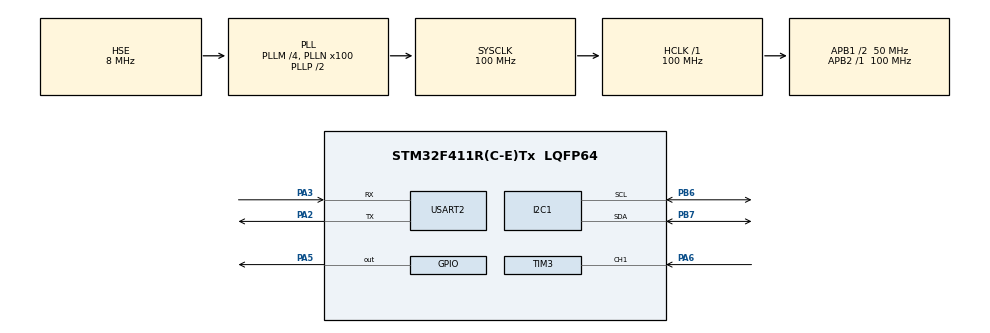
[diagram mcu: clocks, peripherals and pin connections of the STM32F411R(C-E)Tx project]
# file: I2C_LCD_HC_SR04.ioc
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Mcu.Family=STM32F4
Mcu.Name=STM32F411R(C-E)Tx
Mcu.Package=LQFP64
NVIC.PriorityGroup=NVIC_PRIORITYGROUP_4
NVIC.TIM3_IRQn=true\:0\:0\:false\:false\:true\:true\:true\:true
NVIC.USART2_IRQn=true\:0\:0\:false\:false\:true\:true\:true\:true
PA13.Mode=Serial_Wire
PA13.Signal=SYS_JTMS-SWDIO
PA14.Mode=Serial_Wire
PA14.Signal=SYS_JTCK-SWCLK
PA2.Mode=Asynchronous
PA2.Signal=USART2_TX
PA3.Mode=Asynchronous
PA3.Signal=USART2_RX
PA5.Signal=GPIO_Output
PA6.Signal=S_TIM3_CH1
PB6.Mode=I2C
PB6.Signal=I2C1_SCL
PB7.Mode=I2C
PB7.Signal=I2C1_SDA
PH0\ -\ OSC_IN.Mode=HSE-External-Oscillator
PH0\ -\ OSC_IN.Signal=RCC_OSC_IN
PH1\ -\ OSC_OUT.Mode=HSE-External-Oscillator
PH1\ -\ OSC_OUT.Signal=RCC_OSC_OUT
ProjectManager.HeapSize=0x200
ProjectManager.StackSize=0x400
ProjectManager.TargetToolchain=STM32CubeIDE
RCC.48MHZClocksFreq_Value=50000000
RCC.AHBFreq_Value=100000000
RCC.APB1CLKDivider=RCC_HCLK_DIV2
RCC.APB1Freq_Value=50000000
RCC.APB1TimFreq_Value=100000000
RCC.APB2Freq_Value=100000000
RCC.APB2TimFreq_Value=100000000
RCC.CortexFreq_Value=100000000
RCC.HCLKFreq_Value=100000000
RCC.HSE_VALUE=8000000
RCC.HSI_VALUE=16000000
RCC.LSE_VALUE=32768
RCC.PLLM=4
RCC.PLLN=100
RCC.PLLSourceVirtual=RCC_PLLSOURCE_HSE
RCC.SYSCLKFreq_VALUE=100000000
RCC.SYSCLKSource=RCC_SYSCLKSOURCE_PLLCLK
RCC.VCOOutputFreq_Value=200000000
SH.S_TIM3_CH1.0=TIM3_CH1,Input_Capture1_from_TI1
TIM3.Channel-Input_Capture1_from_TI1=TIM_CHANNEL_1
TIM3.Prescaler=100-1
USART2.VirtualMode=VM_ASYNC
VP_TIM3_VS_ClockSourceINT.Mode=Internal
board=custom

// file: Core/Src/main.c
/* USER CODE BEGIN Header */
/**
  ******************************************************************************
  * @file           : main.c
  * @brief          : Main program body
  ******************************************************************************
  * @attention
  *
  * Copyright (c) 2023 STMicroelectronics.
  * All rights reserved.
  *
  * This software is licensed under terms that can be found in the LICENSE file
  * in the root directory of this software component.
  * If no LICENSE file comes with this software, it is provided AS-IS.
  *
  ******************************************************************************
  */
/* USER CODE END Header */
#include "main.h"
#include "i2c.h"
#include "tim.h"
#include "usart.h"
#include "gpio.h"

/* USER CODE BEGIN Includes */
#include "stdio.h"
#include "delay.h"
#include "I2C_LCD.h"
/* USER CODE END Includes */

/* USER CODE BEGIN PD */
#define TRIG_PORT   GPIOA
#define TRIG_PIN    GPIO_PIN_5
/* USER CODE END PD */

/* USER CODE BEGIN PV */
uint32_t INC_Value1 = 0;
uint32_t INC_Value2 = 0;
uint32_t echoTime = 0;
uint8_t captureFlag = 0;
uint8_t distance = 0;
int row=0;
int col=0;

uint8_t buff[30];

/* USER CODE END PV */

void SystemClock_Config(void);
/* USER CODE BEGIN PFP */
void HAL_TIM_IC_CaptureCallback(TIM_HandleTypeDef *htim)
{
  if(htim->Channel == HAL_TIM_ACTIVE_CHANNEL_1)
  {
    if(captureFlag==0)  // ĸó�� �ȵ� INC_Value1
    {
      INC_Value1 = HAL_TIM_ReadCapturedValue(htim, TIM_CHANNEL_1);
      captureFlag = 1;

      __HAL_TIM_SET_CAPTUREPOLARITY(htim,TIM_CHANNEL_1,TIM_INPUTCHANNELPOLARITY_FALLING);

    }
    else if(captureFlag ==1) // INC_Value1 captured
    {
      INC_Value2 = HAL_TIM_ReadCapturedValue(htim, TIM_CHANNEL_1);
      __HAL_TIM_SET_COUNTER(htim,0);

      if(INC_Value2>INC_Value1)
      {
        echoTime = INC_Value2 - INC_Value1;
      }
      else if (INC_Value1> INC_Value2)
      {
        echoTime = (0xffff - INC_Value1) + INC_Value2;
      }

      //distance = echoTime * .034 / 2;
      //
      distance = echoTime / 58;

      captureFlag = 0;
      __HAL_TIM_SET_CAPTUREPOLARITY(htim,TIM_CHANNEL_1,TIM_INPUTCHANNELPOLARITY_RISING);
      __HAL_TIM_DISABLE_IT(&htim3,TIM_IT_CC1);
    }
  }
}
void HCSR04_Read(void)
{
  HAL_GPIO_WritePin(TRIG_PORT, TRIG_PIN, GPIO_PIN_SET);
  delay_us(10);
  HAL_GPIO_WritePin(TRIG_PORT, TRIG_PIN, GPIO_PIN_RESET);
  __HAL_TIM_ENABLE_IT(&htim3,TIM_IT_CC1);
}
/* USER CODE END PFP */

int main(void)
{

  /* MCU Configuration--------------------------------------------------------*/

  /* Reset of all peripherals, Initializes the Flash interface and the Systick. */
  HAL_Init();

  /* Configure the system clock */
  SystemClock_Config();

  /* Initialize all configured peripherals */
  MX_GPIO_Init();
  MX_I2C1_Init();
  MX_TIM3_Init();
  MX_USART2_UART_Init();
  /* USER CODE BEGIN 2 */
  HAL_Delay(1000);
    lcd_init();
   HAL_Delay(1000);
   lcd_put_cur(0, 0);
   lcd_send_string("Han Sang Hun");
   HAL_TIM_IC_Start_IT(&htim3, TIM_CHANNEL_1);
  /* USER CODE END 2 */

  /* Infinite loop */
  while (1)
  {

    /* USER CODE BEGIN 3 */
    HCSR04_Read();
    sprintf(buff,"distance : %-3dcm",distance);
    lcd_put_cur(1, 0);
    lcd_send_string(buff);
    HAL_Delay(500);
  }
  /* USER CODE END 3 */
}

void SystemClock_Config(void)
{
  RCC_OscInitTypeDef RCC_OscInitStruct = {0};
  RCC_ClkInitTypeDef RCC_ClkInitStruct = {0};

  /** Configure the main internal regulator output voltage
  */
  __HAL_RCC_PWR_CLK_ENABLE();
  __HAL_PWR_VOLTAGESCALING_CONFIG(PWR_REGULATOR_VOLTAGE_SCALE1);

  /** Initializes the RCC Oscillators according to the specified parameters
  * in the RCC_OscInitTypeDef structure.
  */
  RCC_OscInitStruct.OscillatorType = RCC_OSCILLATORTYPE_HSE;
  RCC_OscInitStruct.HSEState = RCC_HSE_ON;
  RCC_OscInitStruct.PLL.PLLState = RCC_PLL_ON;
  RCC_OscInitStruct.PLL.PLLSource = RCC_PLLSOURCE_HSE;
  RCC_OscInitStruct.PLL.PLLM = 4;
  RCC_OscInitStruct.PLL.PLLN = 100;
  RCC_OscInitStruct.PLL.PLLP = RCC_PLLP_DIV2;
  RCC_OscInitStruct.PLL.PLLQ = 4;
  if (HAL_RCC_OscConfig(&RCC_OscInitStruct) != HAL_OK)
  {
    Error_Handler();
  }

  /** Initializes the CPU, AHB and APB buses clocks
  */
  RCC_ClkInitStruct.ClockType = RCC_CLOCKTYPE_HCLK|RCC_CLOCKTYPE_SYSCLK
                              |RCC_CLOCKTYPE_PCLK1|RCC_CLOCKTYPE_PCLK2;
  RCC_ClkInitStruct.SYSCLKSource = RCC_SYSCLKSOURCE_PLLCLK;
  RCC_ClkInitStruct.AHBCLKDivider = RCC_SYSCLK_DIV1;
  RCC_ClkInitStruct.APB1CLKDivider = RCC_HCLK_DIV2;
  RCC_ClkInitStruct.APB2CLKDivider = RCC_HCLK_DIV1;

  if (HAL_RCC_ClockConfig(&RCC_ClkInitStruct, FLASH_LATENCY_3) != HAL_OK)
  {
    Error_Handler();
  }
}

void Error_Handler(void)
{
  __disable_irq();
  while (1)
  {
  }
}
